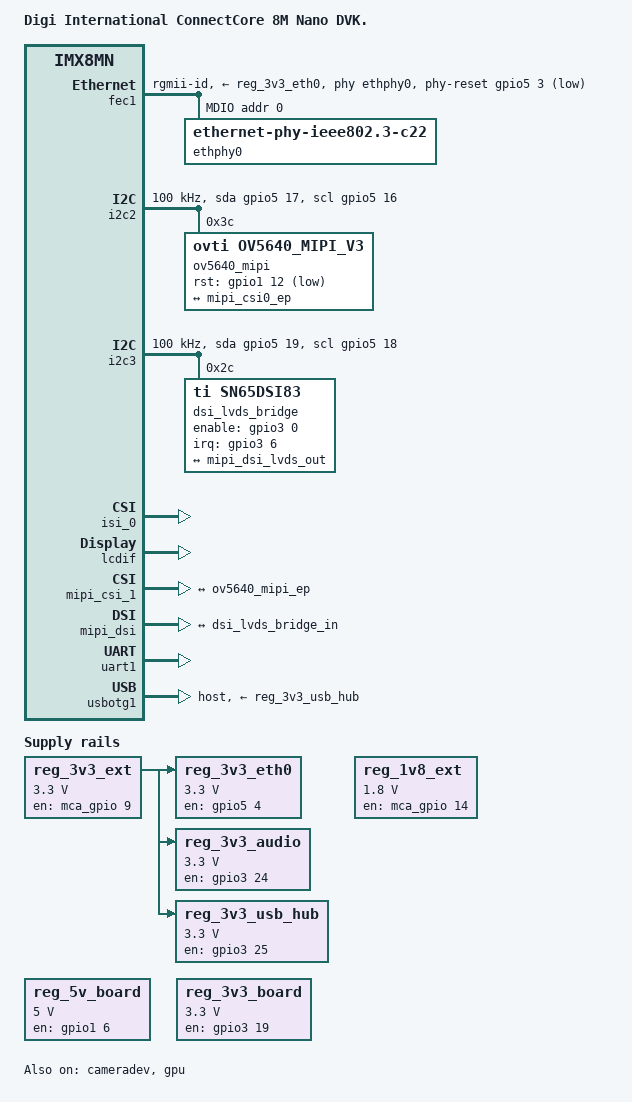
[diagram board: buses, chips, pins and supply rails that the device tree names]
/*
 * Copyright 2020, Digi International Inc.
 *
 * Permission to use, copy, modify, and/or distribute this software for any
 * purpose with or without fee is hereby granted, provided that the above
 * copyright notice and this permission notice appear in all copies.
 * THE SOFTWARE IS PROVIDED "AS IS" AND THE AUTHOR DISCLAIMS ALL WARRANTIES
 * WITH REGARD TO THIS SOFTWARE INCLUDING ALL IMPLIED WARRANTIES OF
 * MERCHANTABILITY AND FITNESS. IN NO EVENT SHALL THE AUTHOR BE LIABLE FOR
 * ANY SPECIAL, DIRECT, INDIRECT, OR CONSEQUENTIAL DAMAGES OR ANY DAMAGES
 * WHATSOEVER RESULTING FROM LOSS OF USE, DATA OR PROFITS, WHETHER IN AN
 * ACTION OF CONTRACT, NEGLIGENCE OR OTHER TORTIOUS ACTION, ARISING OUT OF
 * OR IN CONNECTION WITH THE USE OR PERFORMANCE OF THIS SOFTWARE.
 */

/dts-v1/;

/* i.MX8MN CPU */
#include "../freescale/fsl-imx8mn.dtsi"
/* Digi ConnectCore 8M Nano (WiFi/bluetooth variant) */
#include "ccimx8mn-wb.dtsi"

/ {
	model = "Digi International ConnectCore 8M Nano DVK.";
	compatible = "digi,ccimx8mn-dvk", "digi,ccimx8mn", "digi,ccimx8m", "fsl,imx8mn";
	digi,machine,name = "ccimx8mn-dvk";

	chosen {
		bootargs = "console=ttymxc0,115200 earlycon=ec_imx6q,0x30860000,115200";
		stdout-path = &uart1;
	};

	regulators {
		compatible = "simple-bus";
		#address-cells = <1>;
		#size-cells = <0>;

		reg_3v3_ext: regulator@1 {
			compatible = "regulator-fixed";
			reg = <1>;
			regulator-name = "3v3_ext";
			regulator-min-microvolt = <3300000>;
			regulator-max-microvolt = <3300000>;
			gpio = <&mca_gpio 9 GPIO_ACTIVE_HIGH>;
			enable-active-high;
			regulator-always-on;
			regulator-boot-on;
		};

		reg_1v8_ext: regulator@2 {
			compatible = "regulator-fixed";
			reg = <2>;
			regulator-name = "1v8_ext";
			regulator-min-microvolt = <1800000>;
			regulator-max-microvolt = <1800000>;
			gpio = <&mca_gpio 14 GPIO_ACTIVE_HIGH>;
			enable-active-high;
			regulator-always-on;
			regulator-boot-on;
		};

		reg_3v3_eth0: regulator@3 {
			compatible = "regulator-fixed";
			reg = <3>;
			pinctrl-names = "default";
			pinctrl-0 = <&pinctrl_reg_3v3_eth0>;
			regulator-name = "3v3_eth0";
			regulator-min-microvolt = <3300000>;
			regulator-max-microvolt = <3300000>;
			gpio = <&gpio5 4 GPIO_ACTIVE_HIGH>;
			enable-active-high;
			startup-delay-us = <10000>;
			vin-supply = <&reg_3v3_ext>;
		};

		reg_5v_board: regulator@4 {
			compatible = "regulator-fixed";
			reg = <4>;
			pinctrl-names = "default";
			pinctrl-0 = <&pinctrl_reg_5v_board>;
			regulator-name = "5v_board";
			regulator-min-microvolt = <5000000>;
			regulator-max-microvolt = <5000000>;
			gpio = <&gpio1 6 GPIO_ACTIVE_HIGH>;
			enable-active-high;
		};

		reg_3v3_audio: regulator@5 {
			compatible = "regulator-fixed";
			reg = <5>;
			pinctrl-names = "default";
			pinctrl-0 = <&pinctrl_reg_3v3_aud>;
			regulator-name = "3v3_audio";
			regulator-min-microvolt = <3300000>;
			regulator-max-microvolt = <3300000>;
			gpio = <&gpio3 24 GPIO_ACTIVE_HIGH>;
			enable-active-high;
			startup-delay-us = <1000>;
			vin-supply = <&reg_3v3_ext>;
		};

		reg_3v3_usb_hub: regulator@6 {
			compatible = "regulator-fixed";
			reg = <6>;
			pinctrl-names = "default";
			pinctrl-0 = <&pinctrl_reg_3v3_usb_hub>;
			regulator-name = "3v3_usb_hub";
			regulator-min-microvolt = <3300000>;
			regulator-max-microvolt = <3300000>;
			gpio = <&gpio3 25 GPIO_ACTIVE_HIGH>;
			enable-active-high;
			vin-supply = <&reg_3v3_ext>;
		};

		reg_3v3_board: regulator@7 {
			compatible = "regulator-fixed";
			reg = <7>;
			pinctrl-names = "default";
			pinctrl-0 = <&pinctrl_reg_3v3_board>;
			regulator-name = "3v3_board";
			regulator-min-microvolt = <3300000>;
			regulator-max-microvolt = <3300000>;
			gpio = <&gpio3 19 GPIO_ACTIVE_HIGH>;
			enable-active-high;
			regulator-always-on;
		};
	};
};

&cameradev {
	status = "okay";
};

&fec1 {
	pinctrl-names = "default";
	pinctrl-0 = <&pinctrl_fec1_gpio>,
		    <&pinctrl_fec1>;
	phy-mode = "rgmii-id";
	phy-handle = <&ethphy0>;
	digi,mdio-lt-supply = <&reg_1v8_ext>;
	phy-supply = <&reg_3v3_eth0>;
	phy-reset-gpios = <&gpio5 3 GPIO_ACTIVE_LOW>;
	phy-reset-duration = <1>;
	digi,phy-reset-in-suspend;
	fsl,magic-packet;
	status = "okay";

	mdio {
		#address-cells = <1>;
		#size-cells = <0>;

		ethphy0: ethernet-phy@0 {
			compatible = "ethernet-phy-ieee802.3-c22";
			reg = <0>;
			at803x,eee-disabled;
			at803x,vddio-1p8v;
		};
	};
};

&gpu {
	status = "okay";
};

/*
 * I2C2 connected to Audio codec.
 * Also available on:
 * - LVDS connector
 * - PCIe connector
 * - MIPI Camera connector
 * - Expansion connector
 */
&i2c2 {
	#address-cells = <1>;
	#size-cells = <0>;
	clock-frequency = <100000>;
	pinctrl-names = "default", "gpio";
	pinctrl-0 = <&pinctrl_i2c2>;
	pinctrl-1 = <&pinctrl_i2c2_gpio>;
	scl-gpios = <&gpio5 16 GPIO_ACTIVE_HIGH>;
	sda-gpios = <&gpio5 17 GPIO_ACTIVE_HIGH>;
	status = "okay";

	/* MIPI-CSI camera */
	ov5640_mipi: ov5640_mipi@3c {
		compatible = "ovti,ov5640_mipi_v3";
		reg = <0x3c>;
		pinctrl-names = "default";
		pinctrl-0 = <&pinctrl_mipi>;
		clocks = <&clk IMX8MN_CLK_CLKO1>;
		clock-names = "csi_mclk";
		assigned-clocks = <&clk IMX8MN_CLK_CLKO1>;
		assigned-clock-parents = <&clk IMX8MN_CLK_24M>;
		assigned-clock-rates = <24000000>;
		csi_id = <0>;
		rst-gpios = <&gpio1 12 GPIO_ACTIVE_LOW>;
		mclk = <24000000>;
		mclk_source = <0>;
		mipi_csi;

		port {
			ov5640_mipi_ep: endpoint {
				remote-endpoint = <&mipi_csi0_ep>;
			};
		};
	};
};

/*
 * I2C3 connected to LT8912 MIPI-to-HDMI bridge and SN65DSI83 MIPI-to-LVDS bridge.
 * Also available on the HDMI connector.
 */
&i2c3 {
	clock-frequency = <100000>;
	pinctrl-names = "default", "gpio";
	pinctrl-0 = <&pinctrl_i2c3>;
	pinctrl-1 = <&pinctrl_i2c3_gpio>;
	scl-gpios = <&gpio5 18 GPIO_ACTIVE_HIGH>;
	sda-gpios = <&gpio5 19 GPIO_ACTIVE_HIGH>;
	status = "okay";

	dsi_lvds_bridge: sn65dsi84@2c {
		compatible = "ti,sn65dsi83";
		reg = <0x2c>;
		ti,dsi-lanes = <4>;
		ti,lvds-format = <1>;
		ti,lvds-bpp = <24>;
		ti,width-mm = <217>;
		ti,height-mm = <136>;
		enable-gpios = <&gpio3 0 GPIO_ACTIVE_HIGH>;
		interrupt-parent = <&gpio3>;
		interrupts = <6 IRQ_TYPE_LEVEL_HIGH>;
		pinctrl-names = "default";
		pinctrl-0 = <&pinctrl_lvds>;
		status = "okay";

		display-timings {
			native-mode = <&mipi_analyzer>;

			/* MIPI Analyzer */
			mipi_analyzer: timing@0 {
				clock-frequency = <31500000>;
				hactive = <640>;
				vactive = <480>;
				hback-porch = <4>;
				hfront-porch = <10>;
				vback-porch = <34>;
				vfront-porch = <20>;
				hsync-len = <2>;
				vsync-len = <2>;
				hsync-active = <0>;
				vsync-active = <0>;
				de-active = <0>;
				pixelclk-active = <0>;
			};
		};

		port {
			dsi_lvds_bridge_in: endpoint {
				remote-endpoint = <&mipi_dsi_lvds_out>;
			};
		};
	};
};

&isi_0 {
	status = "okay";
};

&lcdif {
	status = "okay";
};

&mipi_csi_1 {
	#address-cells = <1>;
	#size-cells = <0>;
	status = "okay";

	/* Camera 0  MIPI CSI-2 (CSIS0) */
	port@0 {
		reg = <0>;
		mipi_csi0_ep: endpoint {
			remote-endpoint = <&ov5640_mipi_ep>;
			data-lanes = <2>;
			csis-hs-settle = <13>;
			csis-clk-settle = <2>;
			csis-wclk;
		};
	};
};

&mipi_dsi {
	status = "okay";

	port@1 {
		mipi_dsi_lvds_out: endpoint {
			remote-endpoint = <&dsi_lvds_bridge_in>;
		};
	};
};

/* Console */
&uart1 {
	pinctrl-names = "default", "sleep";
	pinctrl-0 = <&pinctrl_uart1>;
	pinctrl-1 = <&pinctrl_uart1_sleep>;
	status = "okay";
};

/* USB_OTG1 connected to usb hub */
&usbotg1 {
	pinctrl-names = "default";
	pinctrl-0 = <&pinctrl_usbotg1>;

	vbus-supply = <&reg_3v3_usb_hub>;
	fsl,reset-gpio = <&gpio5 10 GPIO_ACTIVE_LOW>;
	dr_mode = "host";
	disable-over-current;
	status = "okay";
};

&A53_0 {
	arm-supply = <&buck2_reg>;
};

/* IOMUX */
&iomuxc {
	pinctrl-names = "default";
	pinctrl-0 = <&pinctrl_hog>;

	pinctrl_hog: hoggrp {
		fsl,pins = <
			/* XBEE_RESET_N */
			MX8MN_IOMUXC_GPIO1_IO08_GPIO1_IO8	0x16
			/* XBEE_ON/SLEEP_N */
			MX8MN_IOMUXC_GPIO1_IO09_GPIO1_IO9	0x16
			/* XBEE_SLEEP_RQ */
			MX8MN_IOMUXC_GPIO1_IO07_GPIO1_IO7	0x16
			/* GPIO1_IO10 on expansion connector */
			MX8MN_IOMUXC_GPIO1_IO10_GPIO1_IO10	0x16
			/* GPIO1_IO11 on expansion connector */
			MX8MN_IOMUXC_GPIO1_IO11_GPIO1_IO11	0x16
			/* GPIO1_IO13 on expansion connector */
			MX8MN_IOMUXC_GPIO1_IO13_GPIO1_IO13	0x16
			/* GPIO1_IO14 on expansion connector */
			MX8MN_IOMUXC_GPIO1_IO14_GPIO1_IO14	0x16
			/* GPIO1_IO15 on expansion connector */
			MX8MN_IOMUXC_GPIO1_IO15_GPIO1_IO15	0x16
			/* User LED 3 */
			MX8MN_IOMUXC_SD2_RESET_B_GPIO2_IO19	0x16
			/* User button 2 */
			MX8MN_IOMUXC_SD2_WP_GPIO2_IO20	0x16
			/*
			 * Expansion I2C port IRQ.
			 * Remove if you plan on using this line for a device
			 * connected to the expansion I2C port.
			 */
			MX8MN_IOMUXC_UART3_TXD_GPIO5_IO27	0x16
			/*
			 * Expansion I2C port GPIO.
			 * Remove if you plan on using this line for a device
			 * connected to the expansion I2C port.
			 */
			MX8MN_IOMUXC_UART3_RXD_GPIO5_IO26	0x16
		>;
	};

	pinctrl_fec1_gpio: fec1gpiogrp {
		fsl,pins = <
			/* PHY reset */
			MX8MN_IOMUXC_SPDIF_TX_GPIO5_IO3		0x19
			/* PHY interrupt */
			MX8MN_IOMUXC_SAI3_MCLK_GPIO5_IO2	0x19
		>;
	};

	pinctrl_fec1: fec1grp {
		fsl,pins = <
			MX8MN_IOMUXC_ENET_MDC_ENET1_MDC		0x3
			MX8MN_IOMUXC_ENET_MDIO_ENET1_MDIO	0x3
			MX8MN_IOMUXC_ENET_TD3_ENET1_RGMII_TD3	0x1f
			MX8MN_IOMUXC_ENET_TD2_ENET1_RGMII_TD2	0x1f
			MX8MN_IOMUXC_ENET_TD1_ENET1_RGMII_TD1	0x1f
			MX8MN_IOMUXC_ENET_TD0_ENET1_RGMII_TD0	0x1f
			MX8MN_IOMUXC_ENET_RD3_ENET1_RGMII_RD3	0x91
			MX8MN_IOMUXC_ENET_RD2_ENET1_RGMII_RD2	0x91
			MX8MN_IOMUXC_ENET_RD1_ENET1_RGMII_RD1	0x91
			MX8MN_IOMUXC_ENET_RD0_ENET1_RGMII_RD0	0x91
			MX8MN_IOMUXC_ENET_TXC_ENET1_RGMII_TXC	0x1f
			MX8MN_IOMUXC_ENET_RXC_ENET1_RGMII_RXC	0x91
			MX8MN_IOMUXC_ENET_RX_CTL_ENET1_RGMII_RX_CTL	0x91
			MX8MN_IOMUXC_ENET_TX_CTL_ENET1_RGMII_TX_CTL	0x1f
		>;
	};

	pinctrl_i2c2: i2c2grp {
		fsl,pins = <
			MX8MN_IOMUXC_I2C2_SCL_I2C2_SCL			0x400001c3
			MX8MN_IOMUXC_I2C2_SDA_I2C2_SDA			0x400001c3
		>;
	};

	pinctrl_i2c2_gpio: i2c2grp-gpio {
		fsl,pins = <
			MX8MN_IOMUXC_I2C2_SCL_GPIO5_IO16		0x1c3
			MX8MN_IOMUXC_I2C2_SDA_GPIO5_IO17		0x1c3
		>;
	};

	pinctrl_i2c3: i2c3grp {
		fsl,pins = <
			MX8MN_IOMUXC_I2C3_SCL_I2C3_SCL			0x400001c3
			MX8MN_IOMUXC_I2C3_SDA_I2C3_SDA			0x400001c3
		>;
	};

	pinctrl_i2c3_gpio: i2c3grp-gpio {
		fsl,pins = <
			MX8MN_IOMUXC_I2C3_SCL_GPIO5_IO18		0x1c3
			MX8MN_IOMUXC_I2C3_SDA_GPIO5_IO19		0x1c3
		>;
	};

	pinctrl_lvds: lvdsgrp {
		fsl,pins = <
			/* SN65DSI83 enable */
			MX8MN_IOMUXC_NAND_ALE_GPIO3_IO0		0x19
			/* SN65DSI83 interrupt */
			MX8MN_IOMUXC_NAND_DATA00_GPIO3_IO6	0x19
		>;
	};

	pinctrl_mipi: mipi {
		fsl,pins = <
			/* MIPI_CSI_RESET_N */
			MX8MN_IOMUXC_GPIO1_IO12_GPIO1_IO12 0x19
		>;
	};

	/* Ethernet PHYs regulator */
	pinctrl_reg_3v3_eth0: pinctrl_reg_3v3_eth0grp {
		fsl,pins = <
			/* PHY power */
			MX8MN_IOMUXC_SPDIF_RX_GPIO5_IO4		0x41
		>;
	};

	pinctrl_reg_5v_board: reg_5v_board_grp {
		fsl,pins = <
			/* 5V regulator power enable */
			MX8MN_IOMUXC_GPIO1_IO06_GPIO1_IO6		0x41
		>;
	};

	pinctrl_reg_3v3_aud: reg_3v3_aud_grp {
		fsl,pins = <
			/* Audio power enable */
			MX8MN_IOMUXC_SAI5_RXD3_GPIO3_IO24		0x41
		>;
	};

	pinctrl_reg_3v3_usb_hub: reg_3v3_usb_hub_grp {
		fsl,pins = <
			/* GPIO3_25 USB hub power enable */
			MX8MN_IOMUXC_SAI5_MCLK_GPIO3_IO25		0x41
		>;
	};

	pinctrl_reg_3v3_board: reg_3v3_board_grp {
		fsl,pins = <
			/* GPIO3_19 board regulator enable */
			MX8MN_IOMUXC_SAI5_RXFS_GPIO3_IO19		0x41
		>;
	};

	pinctrl_uart1: uart1grp {
		fsl,pins = <
			MX8MN_IOMUXC_SAI2_RXC_UART1_DCE_RX	0x140
			MX8MN_IOMUXC_SAI2_RXFS_UART1_DCE_TX	0x140
		>;
	};

	pinctrl_uart1_sleep: uart1sleepgrp {
		fsl,pins = <
			MX8MN_IOMUXC_SAI2_RXC_GPIO4_IO22	0x100
			MX8MN_IOMUXC_SAI2_RXFS_GPIO4_IO21	0x100
		>;
	};

	pinctrl_usbotg1: usbotg1grp {
		fsl,pins = <
			/* USB hub reset */
			MX8MN_IOMUXC_ECSPI2_SCLK_GPIO5_IO10		0x16
		>;
	};
};
